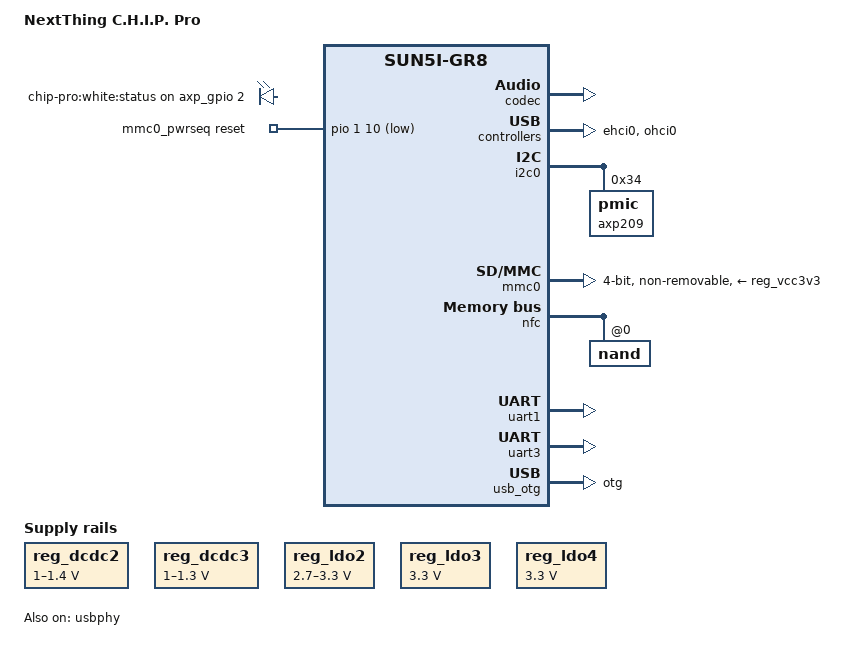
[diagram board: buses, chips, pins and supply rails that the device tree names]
/*
 * Copyright 2016 Free Electrons
 * Copyright 2016 NextThing Co
 *
 * Maxime Ripard <maxime.ripard@free-electrons.com>
 *
 * This file is dual-licensed: you can use it either under the terms
 * of the GPL or the X11 license, at your option. Note that this dual
 * licensing only applies to this file, and not this project as a
 * whole.
 *
 *  a) This file is free software; you can redistribute it and/or
 *     modify it under the terms of the GNU General Public License as
 *     published by the Free Software Foundation; either version 2 of the
 *     License, or (at your option) any later version.
 *
 *     This file is distributed in the hope that it will be useful,
 *     but WITHOUT ANY WARRANTY; without even the implied warranty of
 *     MERCHANTABILITY or FITNESS FOR A PARTICULAR PURPOSE.  See the
 *     GNU General Public License for more details.
 *
 * Or, alternatively,
 *
 *  b) Permission is hereby granted, free of charge, to any person
 *     obtaining a copy of this software and associated documentation
 *     files (the "Software"), to deal in the Software without
 *     restriction, including without limitation the rights to use,
 *     copy, modify, merge, publish, distribute, sublicense, and/or
 *     sell copies of the Software, and to permit persons to whom the
 *     Software is furnished to do so, subject to the following
 *     conditions:
 *
 *     The above copyright notice and this permission notice shall be
 *     included in all copies or substantial portions of the Software.
 *
 *     THE SOFTWARE IS PROVIDED "AS IS", WITHOUT WARRANTY OF ANY KIND,
 *     EXPRESS OR IMPLIED, INCLUDING BUT NOT LIMITED TO THE WARRANTIES
 *     OF MERCHANTABILITY, FITNESS FOR A PARTICULAR PURPOSE AND
 *     NONINFRINGEMENT. IN NO EVENT SHALL THE AUTHORS OR COPYRIGHT
 *     HOLDERS BE LIABLE FOR ANY CLAIM, DAMAGES OR OTHER LIABILITY,
 *     WHETHER IN AN ACTION OF CONTRACT, TORT OR OTHERWISE, ARISING
 *     FROM, OUT OF OR IN CONNECTION WITH THE SOFTWARE OR THE USE OR
 *     OTHER DEALINGS IN THE SOFTWARE.
 */

/dts-v1/;
#include "sun5i-gr8.dtsi"
#include "sunxi-common-regulators.dtsi"

#include <dt-bindings/gpio/gpio.h>
#include <dt-bindings/input/input.h>
#include <dt-bindings/interrupt-controller/irq.h>

/ {
	model = "NextThing C.H.I.P. Pro";
	compatible = "nextthing,chip-pro", "nextthing,gr8";

	aliases {
		i2c0 = &i2c0;
		i2c1 = &i2c1;
		serial0 = &uart1;
		serial1 = &uart2;
		serial2 = &uart3;
	};

	chosen {
		stdout-path = "serial0:115200n8";
	};

	leds {
		compatible = "gpio-leds";

		led-0 {
			label = "chip-pro:white:status";
			gpios = <&axp_gpio 2 GPIO_ACTIVE_HIGH>;
			default-state = "on";
		};
	};

	mmc0_pwrseq: pwrseq {
		compatible = "mmc-pwrseq-simple";
		reset-gpios = <&pio 1 10 GPIO_ACTIVE_LOW>; /* PB10 */
	};
};

&codec {
	status = "okay";
};

&ehci0 {
	status = "okay";
};

&i2c0 {
	status = "okay";

	axp209: pmic@34 {
		reg = <0x34>;

		/*
		* The interrupt is routed through the "External Fast
		* Interrupt Request" pin (ball G13 of the module)
		* directly to the main interrupt controller, without
		* any other controller interfering.
		*/
		interrupts = <0>;
	};
};

#include "axp209.dtsi"

&i2c1 {
	status = "disabled";
};

&i2s0 {
	pinctrl-names = "default";
	pinctrl-0 = <&i2s0_mclk_pin>, <&i2s0_data_pins>;
	status = "disabled";
};

&mmc0 {
	vmmc-supply = <&reg_vcc3v3>;
	mmc-pwrseq = <&mmc0_pwrseq>;
	bus-width = <4>;
	non-removable;
	status = "okay";
};

&nfc {
	pinctrl-names = "default";
	pinctrl-0 = <&nand_pins &nand_cs0_pin &nand_rb0_pin>;
	status = "okay";

	nand@0 {
		reg = <0>;
		allwinner,rb = <0>;
		nand-ecc-mode = "hw";
	};
};

&ohci0 {
	status = "okay";
};

&otg_sram {
	status = "okay";
};

&pwm {
	pinctrl-names = "default";
	pinctrl-0 = <&pwm0_pin>, <&pwm1_pins>;
	status = "disabled";
};

&reg_dcdc2 {
	regulator-min-microvolt = <1000000>;
	regulator-max-microvolt = <1400000>;
	regulator-name = "vdd-cpu";
	regulator-always-on;
};

&reg_dcdc3 {
	regulator-min-microvolt = <1000000>;
	regulator-max-microvolt = <1300000>;
	regulator-name = "vdd-sys";
	regulator-always-on;
};

&reg_ldo1 {
	regulator-name = "vdd-rtc";
};

&reg_ldo2 {
	regulator-min-microvolt = <2700000>;
	regulator-max-microvolt = <3300000>;
	regulator-name = "avcc";
	regulator-always-on;
};

/*
 * Both LDO3 and LDO4 are used in parallel to power up the
 * WiFi/BT chip.
 */
&reg_ldo3 {
	regulator-min-microvolt = <3300000>;
	regulator-max-microvolt = <3300000>;
	regulator-name = "vcc-wifi-1";
	regulator-always-on;
};

&reg_ldo4 {
	regulator-min-microvolt = <3300000>;
	regulator-max-microvolt = <3300000>;
	regulator-name = "vcc-wifi-2";
	regulator-always-on;
};

&uart1 {
	pinctrl-names = "default";
	pinctrl-0 = <&uart1_pg_pins>, <&uart1_cts_rts_pins>;
	status = "okay";
};

&uart2 {
	pinctrl-names = "default";
	pinctrl-0 = <&uart2_pd_pins>, <&uart2_cts_rts_pd_pins>;
	status = "disabled";
};

&uart3 {
	pinctrl-names = "default";
	pinctrl-0 = <&uart3_pg_pins>, <&uart3_cts_rts_pg_pins>;
	status = "okay";
};

&usb_otg {
	/*
	 * The CHIP Pro doesn't have a controllable VBUS, nor does it
	 * have any 5v rail on the board itself.
	 *
	 * If one wants to use it as a true OTG port, it should be
	 * done in the baseboard, and its DT / overlay will add it.
	 */
	dr_mode = "otg";
	status = "okay";
};

&usb_power_supply {
	status = "okay";
};

&usbphy {
	usb0_id_det-gpios = <&pio 6 2 GPIO_ACTIVE_HIGH>; /* PG2 */
	usb0_vbus_power-supply = <&usb_power_supply>;
	usb1_vbus-supply = <&reg_vcc5v0>;
	status = "okay";
};
